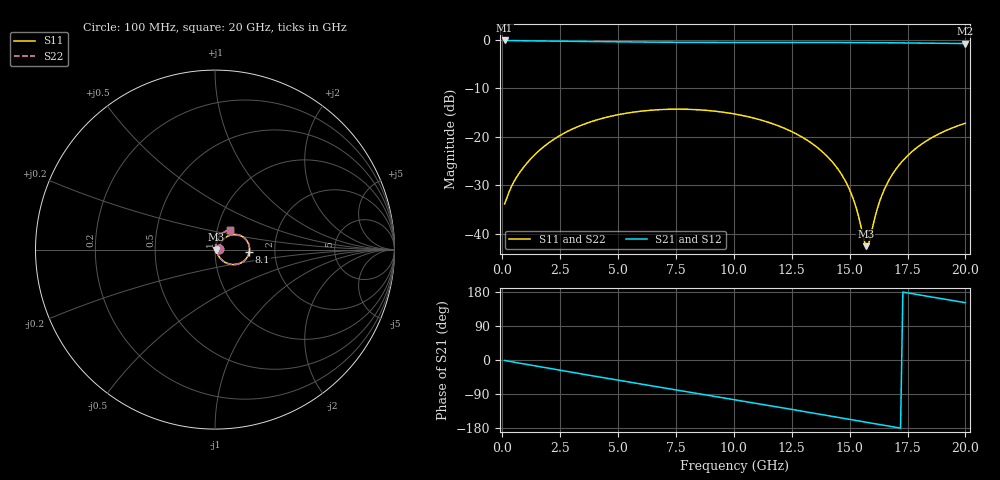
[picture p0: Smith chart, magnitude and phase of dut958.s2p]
! Touchstone file exported from HFSS 2026.1.0
!  File:  C:/ffzhzh/LocalFiles/Ansys_Project_Files/temp_train_TSV_RDL_958_1783284070_38704.aedt
!  Generated:  04:51:45 AM Jul  6, 2026
!  Design:  TSV_RDL
!  Project:  temp_train_TSV_RDL_958_1783284070_38704
! Variables:
!  h_bsmrdl = 4.39um
!  h_ox = 20um
!  h_rdl = 5um
!  h_sub = 87.83um
!  h_tmrdl = 3.09um
!  h_tsv = 87.83um
!  h_via = 3um
!  l_bsmrdl = 206.48um
!  l_sub = 3296.51um
!  l_tmrdl = 535.42um
!  m_sub = 200um
!  pitch = 28.26um
!  r_tsv = 3.92um
!  s_tmrdl = 10um
!  w_bsmrdl = 24.88um
!  w_sub = 500um
!  w_tmrdl = 20.25um
!  x_tsv_center1 = 545.545um
!  x_tsv_center2 = 776.905um
!  x_tsv_center3 = 1332.575um
!  x_tsv_center4 = 1563.935um
!  x_tsv_center5 = 2119.605um
!  x_tsv_center6 = 2350.965um
# GHz S MA R 50.000000
! Terminal data exported
! Port[1] = TM_RDL1_1_T1
! Port[2] = TM_RDL5_1_T1
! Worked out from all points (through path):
!   200 points, 100 MHz to 20 GHz, reference 50 ohm
!   highest |S21| = -0.17 dB at 100 MHz (marker M1); lowest = -0.8 dB at 20 GHz (marker M2)
!   group delay of S21, straight-line fit = 28.9 ps
!   lowest |S11| = -42.5 dB at 15.7 GHz (marker M3), VSWR 1.02, Z = 50.8 - j0.0562 ohm
!   |S11| at or under -10 dB: start of sweep to end of sweep
!   |S22| runs from -42.3 to -14.3 dB; largest |S21 - S12| = 6.7e-14
!   S11 on the Smith chart (normalised r, x): 100 MHz: 1.04, +0.01; 8.1 GHz: 1.47, -0.04; 20 GHz: 1.15, +0.26
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0.1  0.02036 16.2  0.9806 -1.2  0.9806 -1.2  0.02036 16.2
! Gamma 0 0 0 0
! Port Impedance 50 0 50 0
0.6  0.03783 42.7  0.9749 -6.7  0.9749 -6.7  0.03783 42.7
1.4  0.06536 50.0  0.9707 -15.3  0.9707 -15.3  0.06536 50.0
2.3  0.09674 47.6  0.966 -24.9  0.966 -24.9  0.09674 47.6
3.5  0.134 39.0  0.9586 -37.6  0.9586 -37.6  0.134 39.0
5.2  0.1723 23.8  0.9482 -55.3  0.9482 -55.3  0.1723 23.8
6.8  0.1903 8.7  0.9409 -71.7  0.9409 -71.7  0.1903 8.7
8.1  0.1915 -3.7  0.9375 -85.0  0.9375 -85.0  0.1915 -3.7
10.1  0.1705 -22.9  0.9361 -105.5  0.9361 -105.5  0.1705 -22.8
11.9  0.1303 -39.9  0.9367 -124.1  0.9367 -124.1  0.1303 -39.9
13.4  0.08453 -53.2  0.9366 -139.8  0.9366 -139.8  0.08455 -53.1
14.2  0.05703 -58.9  0.9357 -148.2  0.9357 -148.2  0.05705 -58.7
14.8  0.03565 -60.5  0.9346 -154.5  0.9346 -154.5  0.03568 -60.2
15.2  0.02146 -56.4  0.9337 -158.8  0.9337 -158.8  0.02152 -56.0
15.7  0.007486 -4.2  0.9322 -164.0  0.9322 -164.0  0.00765 -4.0
15.8  0.007577 23.2  0.9319 -165.1  0.9319 -165.1  0.00774 22.9
16.2  0.01833 70.1  0.9304 -169.3  0.9304 -169.3  0.0184 69.6
16.7  0.03582 76.8  0.9284 -174.5  0.9284 -174.5  0.03586 76.5
17.3  0.0569 75.2  0.9256 179.2  0.9256 179.2  0.05692 75.0
18  0.08053 70.3  0.922 171.9  0.922 171.9  0.08055 70.2
18.9  0.1085 62.8  0.9172 162.5  0.9172 162.5  0.1085 62.7
20  0.1378 52.8  0.9112 151.2  0.9112 151.2  0.1379 52.7
